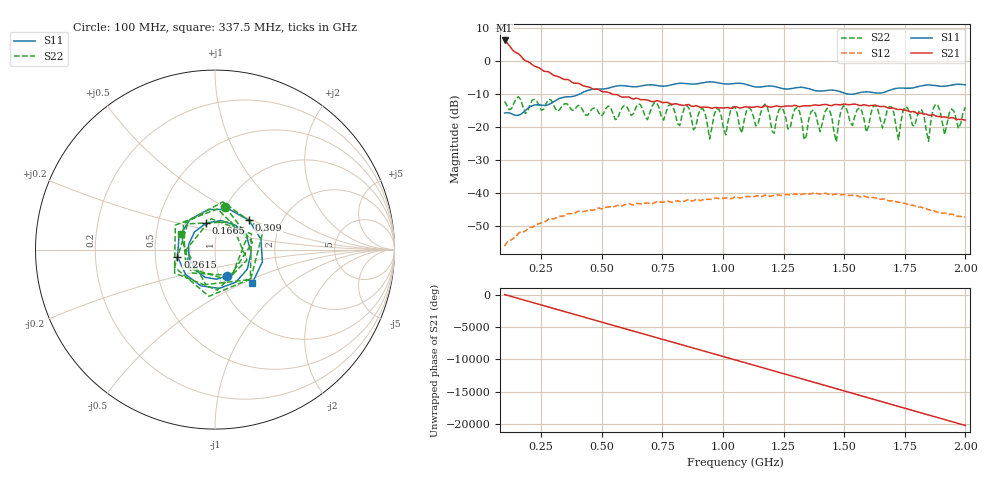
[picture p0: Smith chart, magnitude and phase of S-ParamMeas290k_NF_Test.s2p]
!Keysight Technologies,N5242B,MY48420967,A.15.65.19
!Date: Thursday, January 19, 2023 10:12:30
!Correction: S11(C  1-Port  )
!S21(Off)
!S12(Off)
!S22(Off)
!S2P File: Measurements: S11, S21, S12, S22:
# Hz S  dB  R 50
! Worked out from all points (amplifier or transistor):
!   201 points, 100 MHz to 2 GHz, reference 50 ohm
!   highest |S21| = 6.3 dB at 100 MHz (marker M1)
!   |S21| within 3 dB of that: start of sweep to 134.7 MHz
!   unconditionally stable (mu >= 1): start of sweep to end of sweep
!   at 413.5 MHz: K = 186.88, MAG = -6.4 dB, |S12| = -45.7 dB
!   at 1.05 GHz: K = 215.58, MAG = -12.7 dB, |S12| = -41.2 dB
!   at 2 GHz: K = 720.43, MAG = -16.8 dB, |S12| = -47.4 dB
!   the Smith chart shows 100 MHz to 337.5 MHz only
!   S11 on the Smith chart (normalised r, x): 100 MHz: 1.09, -0.33; 166.5 MHz: 0.87, +0.26; 261.5 MHz: 0.65, -0.05; 309 MHz: 1.37, +0.48; 337.5 MHz: 1.39, -0.56
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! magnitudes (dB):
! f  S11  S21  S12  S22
! 100 MHz  -15.8  6.3  -56.3  -12.2
! 166.5 MHz  -16.2  1.6  -51.9  -11.7
! 261.5 MHz  -13.5  -3.0  -49.1  -14.6
! 309 MHz  -12.0  -4.5  -47.8  -14.5
! 337.5 MHz  -11.1  -5.3  -47.2  -13.6
! 423 MHz  -9.5  -7.4  -45.8  -15.0
! 736.5 MHz  -7.5  -12.1  -42.7  -14.1
! 917 MHz  -6.6  -13.9  -42.2  -14.4
! 945.5 MHz  -6.3  -14.1  -42.0  -23.7
! 1.05 GHz  -6.8  -13.9  -41.2  -14.0
! 1.212 GHz  -7.7  -13.7  -40.8  -21.9
! 1.306 GHz  -8.0  -13.6  -40.5  -14.1
! 1.335 GHz  -8.0  -13.6  -40.3  -23.9
! 1.373 GHz  -8.8  -13.4  -40.2  -14.8
! 1.468 GHz  -9.0  -13.2  -40.4  -24.5
! 1.496 GHz  -9.6  -13.1  -40.5  -13.6
! 1.591 GHz  -9.3  -13.4  -41.2  -21.5
! 1.687 GHz  -8.9  -14.3  -42.5  -13.8
! 1.848 GHz  -7.2  -16.4  -45.2  -24.4
! 1.877 GHz  -7.4  -16.6  -45.7  -13.1
! 1.915 GHz  -7.6  -16.9  -46.2  -22.4
! 2 GHz  -7.2  -17.9  -47.4  -13.9
